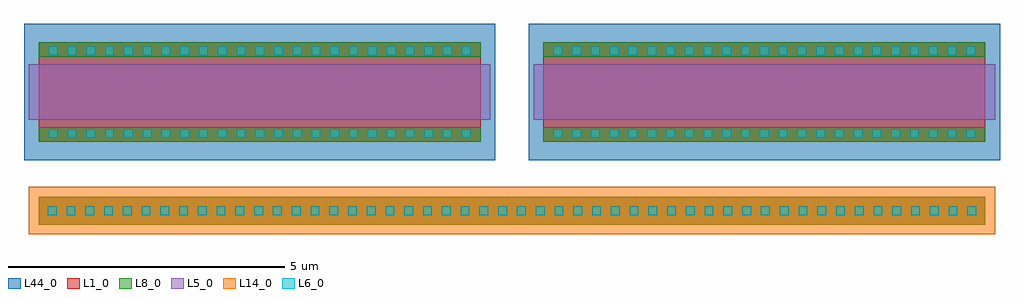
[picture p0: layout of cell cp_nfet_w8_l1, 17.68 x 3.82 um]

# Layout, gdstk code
import gdstk
lib = gdstk.Library(unit=1e-6, precision=1e-09)
def R(c, l, rs):  # rectangles x0, y0, x1, y1
    for r in rs: c.add(gdstk.rectangle(r[:2], r[2:], *l))
def A(c, l, x, y, w, h, nx, ny, dx, dy):  # array of equal rectangles
    R(c, l, [(x+i*dx, y+j*dy, x+i*dx+w, y+j*dy+h) for i in range(nx) for j in range(ny)])
L1_0 = (1, 0)
L5_0 = (5, 0)
L6_0 = (6, 0)
L8_0 = (8, 0)
L14_0 = (14, 0)
L44_0 = (44, 0)

cp_nfet_w8_l1 = lib.new_cell('cp_nfet_w8_l1')
R(cp_nfet_w8_l1, L1_0, [(0.89,0.96,18.03,1.46), (0.89,2.46,8.89,4.26), (10.03,2.46,18.03,4.26)])
R(cp_nfet_w8_l1, L5_0, [(0.71,2.86,9.07,3.86), (9.85,2.86,18.21,3.86)])
A(cp_nfet_w8_l1, L6_0, 1.05, 1.13, 0.16, 0.16, 50, 1, 0.34, 0)
A(cp_nfet_w8_l1, L6_0, 1.07, 2.53, 0.16, 0.16, 23, 2, 0.34, 1.5)
A(cp_nfet_w8_l1, L6_0, 10.21, 2.53, 0.16, 0.16, 23, 2, 0.34, 1.5)
R(cp_nfet_w8_l1, L8_0, [(0.89,0.96,18.03,1.46), (0.89,2.46,8.89,2.72), (10.03,2.46,18.03,2.72), (0.89,4,8.89,4.26), (10.03,4,18.03,4.26)])
R(cp_nfet_w8_l1, L14_0, [(0.71,0.78,18.21,1.64)])
R(cp_nfet_w8_l1, L44_0, [(0.62,2.12,9.16,4.6), (9.76,2.12,18.3,4.6)])

lib.write_gds('cp_nfet_w8_l1.gds')
